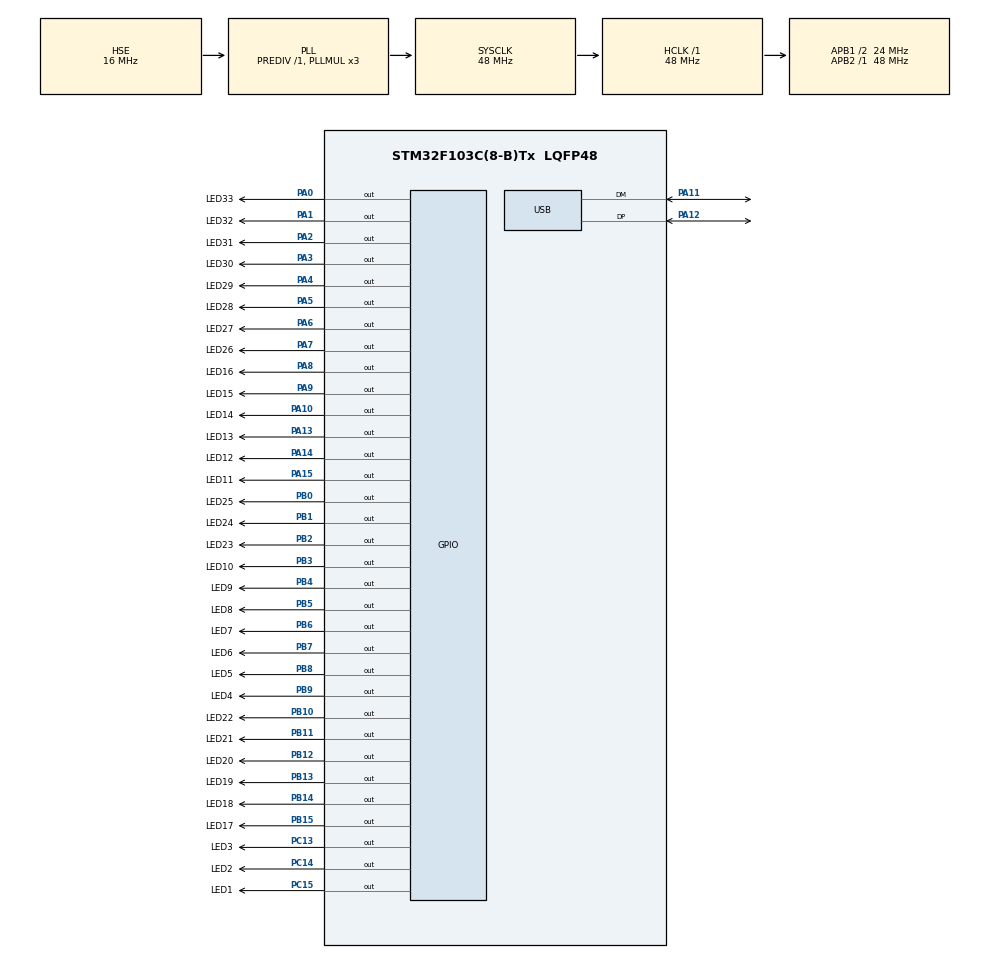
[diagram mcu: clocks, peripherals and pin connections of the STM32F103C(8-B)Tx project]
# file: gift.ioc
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Mcu.Family=STM32F1
Mcu.Name=STM32F103C(8-B)Tx
Mcu.Package=LQFP48
NVIC.PriorityGroup=NVIC_PRIORITYGROUP_4
NVIC.USB_LP_CAN1_RX0_IRQn=true\:0\:0\:false\:false\:true\:false\:true\:true
PA0-WKUP.GPIO_Label=LED33
PA0-WKUP.Signal=GPIO_Output
PA1.GPIO_Label=LED32
PA1.Signal=GPIO_Output
PA10.GPIO_Label=LED14
PA10.Signal=GPIO_Output
PA11.Mode=Device
PA11.Signal=USB_DM
PA12.Mode=Device
PA12.Signal=USB_DP
PA13.GPIO_Label=LED13
PA13.Signal=GPIO_Output
PA14.GPIO_Label=LED12
PA14.Signal=GPIO_Output
PA15.GPIO_Label=LED11
PA15.Signal=GPIO_Output
PA2.GPIO_Label=LED31
PA2.Signal=GPIO_Output
PA3.GPIO_Label=LED30
PA3.Signal=GPIO_Output
PA4.GPIO_Label=LED29
PA4.Signal=GPIO_Output
PA5.GPIO_Label=LED28
PA5.Signal=GPIO_Output
PA6.GPIO_Label=LED27
PA6.Signal=GPIO_Output
PA7.GPIO_Label=LED26
PA7.Signal=GPIO_Output
PA8.GPIO_Label=LED16
PA8.Signal=GPIO_Output
PA9.GPIO_Label=LED15
PA9.Signal=GPIO_Output
PB0.GPIO_Label=LED25
PB0.Signal=GPIO_Output
PB1.GPIO_Label=LED24
PB1.Signal=GPIO_Output
PB10.GPIO_Label=LED22
PB10.Signal=GPIO_Output
PB11.GPIO_Label=LED21
PB11.Signal=GPIO_Output
PB12.GPIO_Label=LED20
PB12.Signal=GPIO_Output
PB13.GPIO_Label=LED19
PB13.Signal=GPIO_Output
PB14.GPIO_Label=LED18
PB14.Signal=GPIO_Output
PB15.GPIO_Label=LED17
PB15.Signal=GPIO_Output
PB2.GPIO_Label=LED23
PB2.Signal=GPIO_Output
PB3.GPIO_Label=LED10
PB3.GPIO_PuPd=GPIO_NOPULL
PB3.Signal=GPIO_Output
PB4.GPIO_Label=LED9
PB4.Signal=GPIO_Output
PB5.GPIO_Label=LED8
PB5.Signal=GPIO_Output
PB6.GPIO_Label=LED7
PB6.Signal=GPIO_Output
PB7.GPIO_Label=LED6
PB7.Signal=GPIO_Output
PB8.GPIO_Label=LED5
PB8.Signal=GPIO_Output
PB9.GPIO_Label=LED4
PB9.Signal=GPIO_Output
PC13-TAMPER-RTC.GPIO_Label=LED3
PC13-TAMPER-RTC.Signal=GPIO_Output
PC14-OSC32_IN.GPIO_Label=LED2
PC14-OSC32_IN.Signal=GPIO_Output
PC15-OSC32_OUT.GPIO_Label=LED1
PC15-OSC32_OUT.Signal=GPIO_Output
PD0-OSC_IN.Mode=HSE-External-Oscillator
PD0-OSC_IN.Signal=RCC_OSC_IN
PD1-OSC_OUT.Mode=HSE-External-Oscillator
PD1-OSC_OUT.Signal=RCC_OSC_OUT
ProjectManager.HeapSize=0x200
ProjectManager.StackSize=0x400
ProjectManager.TargetToolchain=STM32CubeIDE
RCC.AHBFreq_Value=48000000
RCC.APB1CLKDivider=RCC_HCLK_DIV2
RCC.APB1Freq_Value=24000000
RCC.APB1TimFreq_Value=48000000
RCC.APB2Freq_Value=48000000
RCC.APB2TimFreq_Value=48000000
RCC.HCLKFreq_Value=48000000
RCC.HSE_VALUE=16000000
RCC.PLLMUL=RCC_PLL_MUL3
RCC.PLLSourceVirtual=RCC_PLLSOURCE_HSE
RCC.SYSCLKFreq_VALUE=48000000
RCC.SYSCLKSource=RCC_SYSCLKSOURCE_PLLCLK
RCC.USBFreq_Value=48000000
USB_DEVICE.CLASS_NAME_FS=CDC
USB_DEVICE.VirtualMode=Cdc
USB_DEVICE.VirtualModeFS=Cdc_FS
VP_USB_DEVICE_VS_USB_DEVICE_CDC_FS.Mode=CDC_FS
board=custom

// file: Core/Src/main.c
/* USER CODE BEGIN Header */
/**
 ******************************************************************************
 * @file           : main.c
 * @brief          : Main program body
 ******************************************************************************
 * @attention
 *
 * Portions Copyright (c) 2023 STMicroelectronics.
 * Portions Copyright (c) 2023 Hammond Pearce (kiwih)
 * All rights reserved.
 *
 * This software is licensed under terms that can be found in the LICENSE file
 * in the root directory of this software component.
 * If no LICENSE file comes with this software, it is provided AS-IS.
 *
 ******************************************************************************
 */
/* USER CODE END Header */
#include "main.h"
#include "usb_device.h"

#include <stdlib.h>
#include <stdbool.h>
#include <string.h>
#include "usbd_cdc_if.h"

void SystemClock_Config(void);
static void MX_GPIO_Init(void);

/* USER CODE BEGIN 0 */

#define LED_BRIGHTNESS_CYCLES 40

//an array of structs where the struct contains indexes in the array and a length
typedef struct {
	uint8_t len;
	uint8_t indexes[3];
} led_links_t;
//
led_links_t led_links[] = {
		{1, {1}},    //led 1 links to led 2 only
		{2, {0, 2}}, //led 2 links to led 1 and 3
		{2, {1, 3}}, //led 3 links to led 2 and 4
		{2, {2, 4}}, //led 4 links to led 3 and 5
		{3, {3, 5, 8}}, //led 5 links to led 6 and 9
		{3, {4, 6, 8}}, //led 6 links to led 5, 6, and 9
		{2, {5, 7}}, //led 7 links to led 6 and 8
		{2, {6, 10}}, //led 8 links to led 7 and 11
		{3, {4, 5, 11}}, //led 9 links to led 5, 6, and 12
		{0, {0}}, //led 10 has no links
		{2, {7, 12}}, //led 11 has links to led 8 and 13
		{2, {8, 13}}, //led 12 links to led 9 and 14
		{2, {10, 14}}, //led 13 links to led 11 and 15
		{2, {11, 15}}, //led 14 links to led 12 and 16
		{2, {12, 16}}, //led 15 links to led 13 and 17
		{2, {13, 17}}, //led 16 links to led 14 and 18
		{2, {14, 18}}, //led 17 links to led 15 and 19
		{3, {15, 20, 23}}, //led 18 links to led 16, 21 and 24
		{2, {16, 21}}, //led 19 links to led 17 and 22
		{1, {20}}, //led 20 links to led 21
		{3, {17, 19, 23}}, //led 21 links to 18, 20, 24
		{2, {18, 24}}, //led 22 links to 18 and 25
		{1, {25}}, //led 23 links to 26
		{3, {17, 20, 26}}, //led 24 links to 18, 21, 27
		{2, {21, 28}}, //led 25 links to 22, 29
		{2, {22, 26}}, //led 26 links to 23, 28
		{3, {23, 25, 27}}, //led 27 links to 24, 26, 28
		{2, {26, 30}}, //led 28 links to 27, 31
		{2, {24, 29}}, //led 29 links to 25, 30
		{2, {28, 31}}, //led 30 links to 29, 32
		{2, {27, 32}}, //led 31 links to 28, 33
		{2, {29, 32}}, //led 32 links to 30, 33
		{2, {30, 31}}, //led 33 links to 31, 32
};

#define LEDS_N 33

typedef struct {
	GPIO_TypeDef *GPIOx;
	uint16_t GPIO_Pin;
	uint8_t brightness;
	int8_t velocity;
} led_status_t;

led_status_t leds_status[LEDS_N] = {
		{LED1_GPIO_Port, LED1_Pin, 0, 0},
		{LED2_GPIO_Port, LED2_Pin, 0, 0},
		{LED3_GPIO_Port, LED3_Pin, 0, 0},
		{LED4_GPIO_Port, LED4_Pin, 0, 0},
		{LED5_GPIO_Port, LED5_Pin, 0, 0},
		{LED6_GPIO_Port, LED6_Pin, 0, 0},
		{LED7_GPIO_Port, LED7_Pin, 0, 0},
		{LED8_GPIO_Port, LED8_Pin, 0, 0},
		{LED9_GPIO_Port, LED9_Pin, 0, 0},
		{LED10_GPIO_Port, LED10_Pin, 0, 0},
		{LED11_GPIO_Port, LED11_Pin, 0, 0},
		{LED12_GPIO_Port, LED12_Pin, 0, 0},
		{LED13_GPIO_Port, LED13_Pin, 0, 0},
		{LED14_GPIO_Port, LED14_Pin, 0, 0},
		{LED15_GPIO_Port, LED15_Pin, 0, 0},
		{LED16_GPIO_Port, LED16_Pin, 0, 0},
		{LED17_GPIO_Port, LED17_Pin, 0, 0},
		{LED18_GPIO_Port, LED18_Pin, 0, 0},
		{LED19_GPIO_Port, LED19_Pin, 0, 0},
		{LED20_GPIO_Port, LED20_Pin, 0, 0},
		{LED21_GPIO_Port, LED21_Pin, 0, 0},
		{LED22_GPIO_Port, LED22_Pin, 0, 0},
		{LED23_GPIO_Port, LED23_Pin, 0, 0},
		{LED24_GPIO_Port, LED24_Pin, 0, 0},
		{LED25_GPIO_Port, LED25_Pin, 0, 0},
		{LED26_GPIO_Port, LED26_Pin, 0, 0},
		{LED27_GPIO_Port, LED27_Pin, 0, 0},
		{LED28_GPIO_Port, LED28_Pin, 0, 0},
		{LED29_GPIO_Port, LED29_Pin, 0, 0},
		{LED30_GPIO_Port, LED30_Pin, 0, 0},
		{LED31_GPIO_Port, LED31_Pin, 0, 0},
		{LED32_GPIO_Port, LED32_Pin, 0, 0},
		{LED33_GPIO_Port, LED33_Pin, 0, 0},
};

void leds_set_brightness_all(uint8_t brightness) { //brightness is a number between 0 and 20 (0 == never on, 50 == always on)
	for(uint8_t i = 0; i < LEDS_N; i++) {
		leds_status[i].brightness = brightness;
	}
}

void leds_set_border(uint8_t brightness, int8_t velocity) {
	for(uint8_t i = 0; i < LEDS_N; i++) {
		if(i == 9) continue;
		leds_status[i].brightness = brightness;
		leds_status[i].velocity = velocity;
	}
}

void leds_set_eye(uint8_t brightness, int8_t velocity) {
	leds_status[9].brightness = brightness;
	leds_status[9].velocity = velocity;
}

uint8_t leds_get_random_index() {
	//return a number between 0 and LEDS_N-1 not including 10
	do {
		uint8_t index = rand() % LEDS_N;
		if(index != 9) {
			return index;
		}
	} while(1);
}

bool led_is_lit(uint8_t cycle, uint8_t led_index) { //cycle is a number between 1 and 50 (does not cycle 0)
	return (leds_status[led_index].brightness >= cycle);
}

void leds_emit(uint8_t cycle) {
	for(uint8_t i = 0; i < LEDS_N; i++) {
		HAL_GPIO_WritePin(leds_status[i].GPIOx, leds_status[i].GPIO_Pin, led_is_lit(cycle, i));
	}
}

//LEDS PROGRAM ONE:
//let's make a scrolling pattern using the led_links array
//starting from the first index, light subsequent leds in the array

void leds_program_one_fill_init(uint8_t first_led_index, uint8_t fill, int8_t velocity) {
	leds_set_border(fill, 0);
	leds_status[first_led_index].velocity = velocity;
	//leds_set_brightness_eye(fill);
	//leds_status[9].velocity = 0;
}

void leds_program_one_eye_init(uint8_t fill, int8_t velocity) {
	leds_set_eye(fill, velocity);
}

int8_t leds_program_one_single_led_step(uint8_t i) {
	int8_t delta = leds_status[i].velocity;
	//make sure brightness + delta is not greater than LED_BRIGHTNESS_CYCLES
	if(leds_status[i].brightness + delta > LED_BRIGHTNESS_CYCLES) {
		delta = LED_BRIGHTNESS_CYCLES - leds_status[i].brightness;
		leds_status[i].velocity = 0;
	}
	//make sure brightness + delta is not less than 0
	if(leds_status[i].brightness + delta < 0) {
		delta = -leds_status[i].brightness;
		leds_status[i].velocity = 0;
	}
	//increment brightness by delta
	leds_status[i].brightness += delta;
	return delta;
}

uint8_t leds_program_one_step() {
	//for each led which has a non-zero velocity, update its brightness to bounds [0, LED_BRIGHTNESS_CYCLES]
	//then, for each led with brightness crossing the midpoint LED_BRIGHTNESS_CYCLES/2, update the velocity of the neighbors
	//return the number of LEDs that changed in this cycle
	uint8_t n_changed = 0;

	for(uint8_t i = 0; i < LEDS_N; i++) {
		if(leds_status[i].velocity != 0) {

			if(leds_program_one_single_led_step(i) != 0)
				n_changed++;

			//if we are past the midpoint (velocity is positive and brightness is at least 10,
			// or velocity is negative and brightness is at most 10), propagate the velocity to linked leds
			if((leds_status[i].velocity > 0 && leds_status[i].brightness >= LED_BRIGHTNESS_CYCLES/2) ||
			   (leds_status[i].velocity < 0 && leds_status[i].brightness <= LED_BRIGHTNESS_CYCLES - (LED_BRIGHTNESS_CYCLES/2))) {
				for(uint8_t j = 0; j < led_links[i].len; j++) {
					if(leds_status[i].velocity > 0 && leds_status[led_links[i].indexes[j]].brightness == 0) {
						leds_status[led_links[i].indexes[j]].velocity = leds_status[i].velocity;
					}
					if(leds_status[i].velocity < 0 && leds_status[led_links[i].indexes[j]].brightness == LED_BRIGHTNESS_CYCLES) {
						leds_status[led_links[i].indexes[j]].velocity = leds_status[i].velocity;
					}
				}
			}
		}
	}
	return n_changed;
}

//LEDS PROGRAM TWO:
//all LEDs are illuminated evenly and then fade evenly (all outer ON, eye ON, eye OFF, all outer OFF)

void leds_program_two_border_init(uint8_t fill, int8_t velocity) {
	leds_set_border(fill, velocity);
}

void leds_program_two_eye_init(uint8_t fill, int8_t velocity) {
	leds_set_eye(fill, velocity); //reuse program one since it's much the same
}

int8_t leds_program_two_single_led_step(uint8_t i) {
	return leds_program_one_single_led_step(i);
}

uint8_t leds_program_two_step() {
	//for each led which has a brightness of at least 1, increment its brightness by 1 to a maximum of 20
	//then, for each led with brightness at least 10, set the brightness of its linked leds to 1 if they are not already at least 1
	//return the number of LEDs that changed in this cycle
	uint8_t n_changed = 0;
	//uint8_t turn_on_off[LEDS_N] = {0};

	for(uint8_t i = 0; i < LEDS_N; i++) {
		if(leds_status[i].velocity != 0) {
			if(leds_program_one_single_led_step(i) != 0)
				n_changed++;
		}
	}
	return n_changed;
}

int8_t rand_small_nonzero_velocity() {
	//return a random number between -3 and 3, not including 0
	int8_t velocity = 0;
	while(velocity == 0) {
		velocity = (rand() % 7) - 3;
	}
	return velocity;
}

void leds_program_three_init(uint8_t fadeout) { //1 == fadeout, 0 == first startup
	for(uint8_t i = 0; i < LEDS_N; i++) {
		if(fadeout == 0) {
			leds_status[i].brightness = 0;
			leds_status[i].velocity = (rand() % 4); //first startup: no negative velocities to start with, but some zeros
		} else {
			leds_status[i].velocity = (rand() % 2) - 2; //fadeout: no positive velocities, no zero velocities
		}
	}
}

void leds_program_three_bounce_step() {
	for(uint8_t i = 0; i < LEDS_N; i++) {
		//if(leds_status[i].velocity != 0) {
			if(leds_program_one_single_led_step(i) == 0) {
				//sometimes we'll get negative velocities for something set to zero
				//or positive ones for those set to max
				//meaning they'll get a random delay the next cycle instead
				//that's okay, they'll get a new velocity next cycle
				leds_status[i].velocity = rand_small_nonzero_velocity();
			}
		//}
	}
}

uint8_t leds_program_three_fade_out_step() {
	return leds_program_two_step();
}

#define BASE_AWAIT_CYCLE_COUNT (LED_BRIGHTNESS_CYCLES * 1)

enum program_state_e {
	program_one_fill_init,
	program_one_fill,
	program_one_fill_eye,
	program_one_unfill_init,
	program_one_unfill,
	program_one_unfill_eye,

	program_two_fill_init,
	program_two_fill,
	program_two_fill_eye,
	program_two_unfill_init,
	program_two_unfill_eye,
	program_two_unfill,

	program_three_init,
	program_three_bounce,
	program_three_fadeout
};

void advance_state(int* program_repeat_count, enum program_state_e *program_state, uint32_t cycle_count, uint32_t *await_cycle_count) {
	switch(*program_state) {
	case program_one_fill_init:
		leds_program_one_fill_init(leds_get_random_index(), 0, 1);
		*await_cycle_count = BASE_AWAIT_CYCLE_COUNT * 6;
		*program_state = program_one_fill;
		break;
	case program_one_fill:
		if(leds_program_one_step() == 0) {
			leds_program_one_eye_init(0, 1);
			*program_state = program_one_fill_eye;
			*await_cycle_count = 0;
		}
		break;
	case program_one_fill_eye:
		*await_cycle_count = BASE_AWAIT_CYCLE_COUNT * 10;
		if(leds_program_one_single_led_step(9) == 0) {
			*await_cycle_count = BASE_AWAIT_CYCLE_COUNT * 100;
			if(cycle_count == BASE_AWAIT_CYCLE_COUNT * 100) {
				*program_state = program_one_unfill_init;
				*await_cycle_count = 0;
			}
		}
		break;
	case program_one_unfill_init:
			leds_program_one_fill_init(leds_get_random_index(), LED_BRIGHTNESS_CYCLES, -1);
			*await_cycle_count = BASE_AWAIT_CYCLE_COUNT * 6;
			*program_state = program_one_unfill;
			break;
	case program_one_unfill:
		if(leds_program_one_step() == 0) {
			leds_program_one_eye_init(LED_BRIGHTNESS_CYCLES, -1);
			*program_state = program_one_unfill_eye;
			*await_cycle_count = 0;
		}
		break;
	case program_one_unfill_eye:
		*await_cycle_count = BASE_AWAIT_CYCLE_COUNT * 10;
		if(leds_program_one_single_led_step(9) == 0) {
			*await_cycle_count = BASE_AWAIT_CYCLE_COUNT * 100;
			if(cycle_count == BASE_AWAIT_CYCLE_COUNT * 100) {
				if(*program_repeat_count < 3) {
					*program_state = program_one_fill_init;
					(*program_repeat_count)++;
				} else {
					*program_state = program_two_fill_init;
					(*program_repeat_count)=0;
				}
				*await_cycle_count = 0;
			}
		}
		break;

	case program_two_fill_init:
		leds_program_two_border_init(0, 1);
		leds_program_two_eye_init(0,0);
		*await_cycle_count = BASE_AWAIT_CYCLE_COUNT * 6;
		*program_state = program_two_fill;
		break;
	case program_two_fill:
		if(leds_program_two_step() == 0) {
			leds_program_two_eye_init(0, 1);
			*program_state = program_two_fill_eye;
			*await_cycle_count = 0;
		}
		break;
	case program_two_fill_eye:
		*await_cycle_count = BASE_AWAIT_CYCLE_COUNT * 10;
		if(leds_program_one_single_led_step(9) == 0) {
			*await_cycle_count = BASE_AWAIT_CYCLE_COUNT * 100;
			if(cycle_count == BASE_AWAIT_CYCLE_COUNT * 100) {
				*program_state = program_two_unfill_init;
				*await_cycle_count = 0;
			}
		}
		break;
	case program_two_unfill_init:
			leds_program_two_border_init(LED_BRIGHTNESS_CYCLES, -1);
			leds_program_two_eye_init(LED_BRIGHTNESS_CYCLES, -1);
			*await_cycle_count = BASE_AWAIT_CYCLE_COUNT * 6;
			*program_state = program_two_unfill_eye;
			break;
	case program_two_unfill_eye:
		*await_cycle_count = BASE_AWAIT_CYCLE_COUNT * 10;
		if(leds_program_one_single_led_step(9) == 0) {
			//*await_cycle_count = BASE_AWAIT_CYCLE_COUNT * 100;
			//if(cycle_count == BASE_AWAIT_CYCLE_COUNT * 100) {
				*program_state = program_two_unfill;
			//}
		}
		break;
	case program_two_unfill:
		if(leds_program_two_step() == 0) {
			*await_cycle_count = BASE_AWAIT_CYCLE_COUNT * 100;
			if(cycle_count == BASE_AWAIT_CYCLE_COUNT * 100) {
				if(*program_repeat_count < 1) {
					*program_state = program_two_fill_init;
					(*program_repeat_count)++;
				} else {
					*program_state = program_three_init;
					(*program_repeat_count)=0;
				}
				*await_cycle_count = 0;
			}
		}
		break;

	case program_three_init:
		leds_program_three_init(0);
		*await_cycle_count = BASE_AWAIT_CYCLE_COUNT * 3;
		*program_state = program_three_bounce;
		break;
	case program_three_bounce:
		leds_program_three_bounce_step();
		*await_cycle_count = BASE_AWAIT_CYCLE_COUNT * 10;
		if(*program_repeat_count < 400) {
			*program_state = program_three_bounce;
			(*program_repeat_count)++;
		} else {
			leds_program_three_init(1);
			*program_state = program_three_fadeout;
			(*program_repeat_count)=0;
		}
		break;
	case program_three_fadeout:
		if(leds_program_three_fade_out_step() == 0) {
			*await_cycle_count = BASE_AWAIT_CYCLE_COUNT * 400;
			if(cycle_count == BASE_AWAIT_CYCLE_COUNT * 400) {
				*program_state = program_one_fill_init;
				(*program_repeat_count)=0;
				*await_cycle_count = 0;
			}
		}
		break;

	default:
		*program_state = program_one_fill_init;
	}
}

/////////
//USB related shenanigans
//////////////
uint8_t* greeting = (uint8_t*)"you really shouldn't plug random USB devices into your PC... \r\nfortunately, I'm just here to say:\r\nhello there!\r\n";
uint8_t* followup = (uint8_t*)"\r\nyou are a bold one!\r\n";
uint8_t* longspiel = (uint8_t*)"\r\nyou ever hear the tragedy of darth plagueis the wise?\r\ni thought not. it's not a story the jedi would tell you.\r\nit's a sith legend. darth plagueis was a dark lord of the sith, so powerful and so wise he could use the force to influence the midichlorians to create life...\r\nhe had such a knowledge of the dark side that he could even keep the ones he cared about from dying.\r\nthe dark side of the force is a pathway to many abilities some consider to be unnatural.\r\nhe became so powerful... the only thing he was afraid of was losing his power, which eventually, of course, he did.\r\nunfortunately, he taught his apprentice everything he knew, then his apprentice killed him in his sleep.\r\nit's ironic he could save others from death, but not himself.\r\n";
uint8_t* am_senate = (uint8_t*)"\r\nthe senate!\r\n";
uint8_t* do_it = (uint8_t*)"\r\nit!\r\n";
uint8_t* unlimited_power = (uint8_t*)"\r\npower!\r\n";
uint8_t* hate_sand = (uint8_t*)"\r\nsand! it's coarse and rough and irritating\r\nand it gets everywhere!\r\n";
uint8_t* outrageous_unfair = (uint8_t*)"\r\n! it's unfair!\r\nHow can you be on the Council, and not be a Master?";
uint8_t* what_about = (uint8_t*)"\r\about the droid attack on the wookies?\r\n";
uint8_t* its_a_trap = (uint8_t*)"\r\ntrap!\r\n";
uint8_t* democracy = (uint8_t*)"\r\ndemocracy...\r\n";
uint8_t* you_underestimate = (uint8_t*)"\r\nunderestimate my power!\r\n";
uint8_t* its_over = (uint8_t*)"\r\nanikan i have the high ground!\r\n";
uint8_t* fun_begins = (uint8_t*)"\r\nthe fun begins!\r\n";
uint8_t* fish = (uint8_t*)"\r\nalways a bigger fish.\r\n";
uint8_t* surprise = (uint8_t*)"\r\nto be sure, but a welcome one.\r\n";
uint8_t* fine = (uint8_t*)"\r\naddition to my collection.\r\n";

uint8_t mybuf[1024] = {0};
uint32_t mylen = 0;
//last received cycle time
uint32_t last_cycle_time = 0;
#define MAX_IDLE_CYCLES 10000
void ProcessText() {
	//check to see if we haven't received any text in a while
	if(HAL_GetTick() - last_cycle_time > MAX_IDLE_CYCLES) {
		//if so, send a greeting
		CDC_Transmit_FS(greeting, strlen((char*)greeting));
		last_cycle_time = HAL_GetTick();
		//and clear mybuf
		memset(mybuf, 0, 1024);
		mylen = 0;
	} else //check if mybuf contains the words "general kenobi"
	if(strstr((char*)mybuf, "general kenobi") != NULL) {
		//if so, send a response
		CDC_Transmit_FS(followup, strlen((char*)followup));
		//and clear mybuf
		memset(mybuf, 0, 1024);
		mylen = 0;
	} else //check if mybuf contains the word "did"
	if(strstr((char*)mybuf, "did") != NULL) {
		CDC_Transmit_FS(longspiel, strlen((char*)longspiel));
		memset(mybuf, 0, 1024);
		mylen = 0;
	} else //check if mybuf contains the word "i am"
	if(strstr((char*)mybuf, "i am") != NULL) {
		CDC_Transmit_FS(am_senate, strlen((char*)am_senate));
		memset(mybuf, 0, 1024);
		mylen = 0;
	} else //check if mybuf contains the word "do"
	if(strstr((char*)mybuf, "do") != NULL) {
		CDC_Transmit_FS(do_it, strlen((char*)do_it));
		memset(mybuf, 0, 1024);
		mylen = 0;
	} else //check if mybuf contains the word "unlimited"
	if(strstr((char*)mybuf, "unlimited") != NULL) {
		CDC_Transmit_FS(unlimited_power, strlen((char*)unlimited_power));
		memset(mybuf, 0, 1024);
		mylen = 0;
	} else //check if mybuf contains the word "i hate"
	if(strstr((char*)mybuf, "i hate") != NULL) {
		CDC_Transmit_FS(hate_sand, strlen((char*)hate_sand));
		memset(mybuf, 0, 1024);
		mylen = 0;
	} else //check if mybuf contains the word "this is outrageous"
	if(strstr((char*)mybuf, "this is") != NULL) {
		CDC_Transmit_FS(outrageous_unfair, strlen((char*)outrageous_unfair));
		memset(mybuf, 0, 1024);
		mylen = 0;
	} else //check if mybuf contains the word "what"
	if(strstr((char*)mybuf, "what") != NULL) {
		CDC_Transmit_FS(what_about, strlen((char*)what_about));
		memset(mybuf, 0, 1024);
		mylen = 0;
	} else //check if mybuf contains the word "it's a"
	if(strstr((char*)mybuf, "it's a") != NULL) {
		CDC_Transmit_FS(its_a_trap, strlen((char*)its_a_trap));
		memset(mybuf, 0, 1024);
		mylen = 0;
	} else //check if mybuf contains the word "i love"
	if(strstr((char*)mybuf, "i love") != NULL) {
		CDC_Transmit_FS(democracy, strlen((char*)democracy));
		memset(mybuf, 0, 1024);
		mylen = 0;
	} else //check if mybuf contains the word "you"
	if(strstr((char*)mybuf, "you") != NULL) {
		CDC_Transmit_FS(you_underestimate, strlen((char*)you_underestimate));
		memset(mybuf, 0, 1024);
		mylen = 0;
	} else //check if mybuf contains the word "it's over"
	if(strstr((char*)mybuf, "it's over") != NULL) {
		CDC_Transmit_FS(its_over, strlen((char*)its_over));
		memset(mybuf, 0, 1024);
		mylen = 0;
	} else //check if mybuf contains the word "this is where"
	if(strstr((char*)mybuf, "this is where") != NULL) {
		CDC_Transmit_FS(fun_begins, strlen((char*)fun_begins));
		memset(mybuf, 0, 1024);
		mylen = 0;
	} else //check if mybuf contains the word "there's"
	if(strstr((char*)mybuf, "there's") != NULL) {
		CDC_Transmit_FS(fish, strlen((char*)fish));
		memset(mybuf, 0, 1024);
		mylen = 0;
	} else //check if mybuf contains the word "a surprise"
	if(strstr((char*)mybuf, "a surprise") != NULL) {
		CDC_Transmit_FS(surprise, strlen((char*)surprise));
		memset(mybuf, 0, 1024);
		mylen = 0;
	} else //check if mybuf contains the word "a fine"
	if(strstr((char*)mybuf, "a fine") != NULL) {
		CDC_Transmit_FS(fine, strlen((char*)fine));
		memset(mybuf, 0, 1024);
		mylen = 0;

	} else //check if it contains '/r' or '/n'
	if(strstr((char*)mybuf, "\r") != NULL || strstr((char*)mybuf, "\n") != NULL) {
		//if so, clear the contents of mybuf
		memset(mybuf, 0, 1024);
		mylen = 0;
	}
}

void RxText(uint8_t* Buf, uint32_t *Len) {
	last_cycle_time = HAL_GetTick();
	//check if we have room in mybuf
	if(mylen + *Len > 1024) {
		//if not, clear mybuf
		memset(mybuf, 0, 1024);
		mylen = 0;
	}
	for(uint32_t i = 0; i < *Len; i++) {
		mybuf[mylen+i] = Buf[i];
	}
	CDC_Transmit_FS(&mybuf[mylen], *Len);
	mylen += *Len;
}

/* USER CODE END 0 */

int main(void)
{

  /* MCU Configuration--------------------------------------------------------*/

  /* Reset of all peripherals, Initializes the Flash interface and the Systick. */
  HAL_Init();

  /* USER CODE BEGIN Init */
	__HAL_AFIO_REMAP_SWJ_DISABLE(); //necessary as LEDs are using JTAG pins, comment out if you want debug support

  /* USER CODE END Init */

  /* Configure the system clock */
  SystemClock_Config();

  /* Initialize all configured peripherals */
  MX_GPIO_Init();
  MX_USB_DEVICE_Init();

  /* Infinite loop */
  /* USER CODE BEGIN WHILE */
    int program_repeat_count = 0;
	enum program_state_e program_state = program_one_fill_init;
	uint8_t led_cycle_count = 0;
	uint32_t cycle_count = 0;
	uint32_t await_cycle_count = 480;

//	int8_t velocity = 1;
//	uint8_t fill = 0;
//	uint8_t startindex = leds_get_random_index();
//	leds_program_one_fill_init(startindex, fill, velocity);
	//make a random number between 0 and 32 for startindex
	while (1)
	{
    /* USER CODE END WHILE */

    /* USER CODE BEGIN 3 */
		ProcessText();
		if(cycle_count >= await_cycle_count) {
			advance_state(&program_repeat_count, &program_state, cycle_count, &await_cycle_count);
			//leds_status[1].brightness = 1;
			cycle_count = 0;
		}
		cycle_count++;

		led_cycle_count++;
		if(led_cycle_count > LED_BRIGHTNESS_CYCLES)
			led_cycle_count = 1;

		leds_emit(led_cycle_count);

		//CDC_Transmit_FS("hi\n", 3);
		//HAL_Delay(1);
	}
  /* USER CODE END 3 */
}

void SystemClock_Config(void)
{
  RCC_OscInitTypeDef RCC_OscInitStruct = {0};
  RCC_ClkInitTypeDef RCC_ClkInitStruct = {0};
  RCC_PeriphCLKInitTypeDef PeriphClkInit = {0};

  /** Initializes the RCC Oscillators according to the specified parameters
  * in the RCC_OscInitTypeDef structure.
  */
  RCC_OscInitStruct.OscillatorType = RCC_OSCILLATORTYPE_HSE;
  RCC_OscInitStruct.HSEState = RCC_HSE_ON;
  RCC_OscInitStruct.HSEPredivValue = RCC_HSE_PREDIV_DIV1;
  RCC_OscInitStruct.HSIState = RCC_HSI_ON;
  RCC_OscInitStruct.PLL.PLLState = RCC_PLL_ON;
  RCC_OscInitStruct.PLL.PLLSource = RCC_PLLSOURCE_HSE;
  RCC_OscInitStruct.PLL.PLLMUL = RCC_PLL_MUL3;
  if (HAL_RCC_OscConfig(&RCC_OscInitStruct) != HAL_OK)
  {
    Error_Handler();
  }

  /** Initializes the CPU, AHB and APB buses clocks
  */
  RCC_ClkInitStruct.ClockType = RCC_CLOCKTYPE_HCLK|RCC_CLOCKTYPE_SYSCLK
                              |RCC_CLOCKTYPE_PCLK1|RCC_CLOCKTYPE_PCLK2;
  RCC_ClkInitStruct.SYSCLKSource = RCC_SYSCLKSOURCE_PLLCLK;
  RCC_ClkInitStruct.AHBCLKDivider = RCC_SYSCLK_DIV1;
  RCC_ClkInitStruct.APB1CLKDivider = RCC_HCLK_DIV2;
  RCC_ClkInitStruct.APB2CLKDivider = RCC_HCLK_DIV1;

  if (HAL_RCC_ClockConfig(&RCC_ClkInitStruct, FLASH_LATENCY_1) != HAL_OK)
  {
    Error_Handler();
  }
  PeriphClkInit.PeriphClockSelection = RCC_PERIPHCLK_USB;
  PeriphClkInit.UsbClockSelection = RCC_USBCLKSOURCE_PLL;
  if (HAL_RCCEx_PeriphCLKConfig(&PeriphClkInit) != HAL_OK)
  {
    Error_Handler();
  }
}

static void MX_GPIO_Init(void)
{
  GPIO_InitTypeDef GPIO_InitStruct = {0};

  /* GPIO Ports Clock Enable */
  __HAL_RCC_GPIOC_CLK_ENABLE();
  __HAL_RCC_GPIOD_CLK_ENABLE();
  __HAL_RCC_GPIOA_CLK_ENABLE();
  __HAL_RCC_GPIOB_CLK_ENABLE();

  /*Configure GPIO pin Output Level */
  HAL_GPIO_WritePin(GPIOC, LED3_Pin|LED2_Pin|LED1_Pin, GPIO_PIN_RESET);

  /*Configure GPIO pin Output Level */
  HAL_GPIO_WritePin(GPIOA, LED33_Pin|LED32_Pin|LED31_Pin|LED30_Pin
                          |LED29_Pin|LED28_Pin|LED27_Pin|LED26_Pin
                          |LED16_Pin|LED15_Pin|LED14_Pin|LED13_Pin
                          |LED12_Pin|LED11_Pin, GPIO_PIN_RESET);

  /*Configure GPIO pin Output Level */
  HAL_GPIO_WritePin(GPIOB, LED25_Pin|LED24_Pin|LED23_Pin|LED22_Pin
                          |LED21_Pin|LED20_Pin|LED19_Pin|LED18_Pin
                          |LED17_Pin|LED10_Pin|LED9_Pin|LED8_Pin
                          |LED7_Pin|LED6_Pin|LED5_Pin|LED4_Pin, GPIO_PIN_RESET);

  /*Configure GPIO pins : LED3_Pin LED2_Pin LED1_Pin */
  GPIO_InitStruct.Pin = LED3_Pin|LED2_Pin|LED1_Pin;
  GPIO_InitStruct.Mode = GPIO_MODE_OUTPUT_PP;
  GPIO_InitStruct.Pull = GPIO_NOPULL;
  GPIO_InitStruct.Speed = GPIO_SPEED_FREQ_LOW;
  HAL_GPIO_Init(GPIOC, &GPIO_InitStruct);

  /*Configure GPIO pins : LED33_Pin LED32_Pin LED31_Pin LED30_Pin
                           LED29_Pin LED28_Pin LED27_Pin LED26_Pin
                           LED16_Pin LED15_Pin LED14_Pin LED13_Pin
                           LED12_Pin LED11_Pin */
  GPIO_InitStruct.Pin = LED33_Pin|LED32_Pin|LED31_Pin|LED30_Pin
                          |LED29_Pin|LED28_Pin|LED27_Pin|LED26_Pin
                          |LED16_Pin|LED15_Pin|LED14_Pin|LED13_Pin
                          |LED12_Pin|LED11_Pin;
  GPIO_InitStruct.Mode = GPIO_MODE_OUTPUT_PP;
  GPIO_InitStruct.Pull = GPIO_NOPULL;
  GPIO_InitStruct.Speed = GPIO_SPEED_FREQ_LOW;
  HAL_GPIO_Init(GPIOA, &GPIO_InitStruct);

  /*Configure GPIO pins : LED25_Pin LED24_Pin LED23_Pin LED22_Pin
                           LED21_Pin LED20_Pin LED19_Pin LED18_Pin
                           LED17_Pin LED10_Pin LED9_Pin LED8_Pin
                           LED7_Pin LED6_Pin LED5_Pin LED4_Pin */
  GPIO_InitStruct.Pin = LED25_Pin|LED24_Pin|LED23_Pin|LED22_Pin
                          |LED21_Pin|LED20_Pin|LED19_Pin|LED18_Pin
                          |LED17_Pin|LED10_Pin|LED9_Pin|LED8_Pin
                          |LED7_Pin|LED6_Pin|LED5_Pin|LED4_Pin;
  GPIO_InitStruct.Mode = GPIO_MODE_OUTPUT_PP;
  GPIO_InitStruct.Pull = GPIO_NOPULL;
  GPIO_InitStruct.Speed = GPIO_SPEED_FREQ_LOW;
  HAL_GPIO_Init(GPIOB, &GPIO_InitStruct);

}

void Error_Handler(void)
{
	__disable_irq();
	while (1)
	{
	}
}
